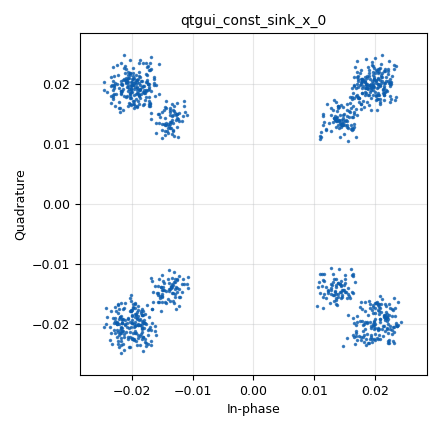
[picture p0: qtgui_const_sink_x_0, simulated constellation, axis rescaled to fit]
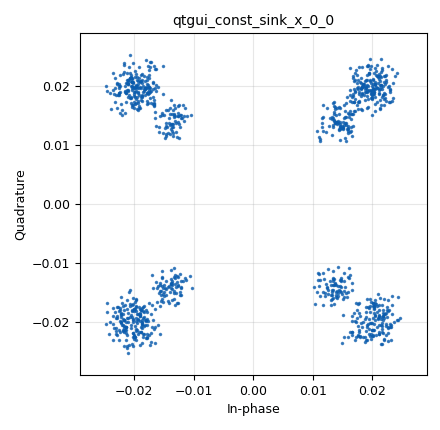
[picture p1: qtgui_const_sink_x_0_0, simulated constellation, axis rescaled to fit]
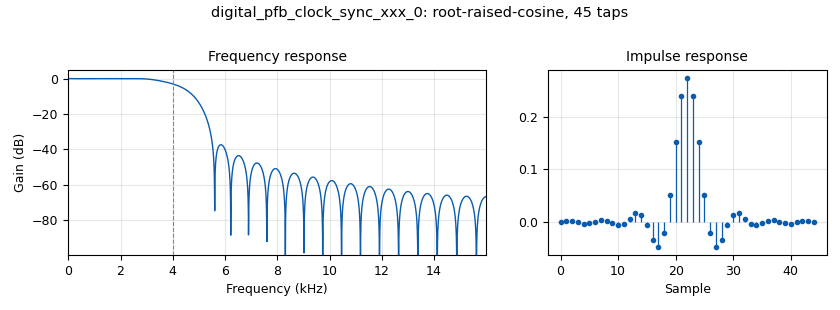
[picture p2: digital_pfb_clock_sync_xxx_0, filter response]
options:
  parameters:
    generate_options: qt_gui
    id: sr_design_test_20220813
    output_language: python
    title: PSK_Simulation_Senior_Design
  states: {}

blocks:
- name: excess_bw
  id: variable
  parameters:
    value: '0.35'
  states: {}
- name: rrc_taps
  id: variable
  parameters:
    value: firdes.root_raised_cosine(1.0,samp_rate,samp_rate/sps,excess_bw,11*sps)
  states: {}
- name: samp_rate
  id: variable
  parameters:
    value: '32000'
  states: {}
- name: sps
  id: variable
  parameters:
    value: '4'
  states: {}
- name: variable_constellation_rect_0
  id: variable_constellation_rect
  parameters:
    const_points: '[-0.707-0.707j, -0.707+0.707j, 0.707+0.707j, 0.707-0.707j]'
    imag_sect: '2'
    real_sect: '2'
    rot_sym: '4'
    sym_map: '[0, 1, 2, 3]'
    w_imag_sect: '1'
    w_real_sect: '1'
  states: {}
- name: analog_random_source_x_0
  id: analog_random_source_x
  parameters:
    max: '255'
    min: '0'
    num_samps: '10000'
    repeat: 'True'
    type: byte
  states: {}
- name: blocks_throttle_0
  id: blocks_throttle
  parameters:
    samples_per_second: samp_rate
    type: complex
  states: {}
- name: digital_cma_equalizer_cc_0
  id: digital_cma_equalizer_cc
  parameters:
    modulus: '0'
    mu: '1'
    num_taps: '15'
    sps: '2'
  states: {}
- name: digital_constellation_modulator_0
  id: digital_constellation_modulator
  parameters:
    constellation: variable_constellation_rect_0
    differential: 'True'
    excess_bw: '0.35'
    samples_per_symbol: '4'
  states: {}
- name: digital_costas_loop_cc_0
  id: digital_costas_loop_cc
  parameters:
    order: '4'
    w: '62.8e-3'
  states: {}
- name: digital_pfb_clock_sync_xxx_0
  id: digital_pfb_clock_sync_xxx
  parameters:
    filter_size: '32'
    init_phase: '16'
    loop_bw: '62.8e-3'
    max_dev: '1.5'
    osps: '2'
    sps: '4'
    taps: rrc_taps
    type: ccf
  states: {}
- name: qtgui_const_sink_x_0
  id: qtgui_const_sink_x
  parameters:
    size: '1024'
    type: complex
  states: {}
- name: qtgui_const_sink_x_0_0
  id: qtgui_const_sink_x
  parameters:
    size: '1024'
    type: complex
  states: {}

connections:
- [analog_random_source_x_0, '0', digital_constellation_modulator_0, '0']
- [blocks_throttle_0, '0', digital_pfb_clock_sync_xxx_0, '0']
- [digital_cma_equalizer_cc_0, '0', digital_costas_loop_cc_0, '0']
- [digital_cma_equalizer_cc_0, '0', qtgui_const_sink_x_0, '0']
- [digital_constellation_modulator_0, '0', blocks_throttle_0, '0']
- [digital_costas_loop_cc_0, '0', qtgui_const_sink_x_0_0, '0']
- [digital_pfb_clock_sync_xxx_0, '0', digital_cma_equalizer_cc_0, '0']

metadata:
  file_format: 1
